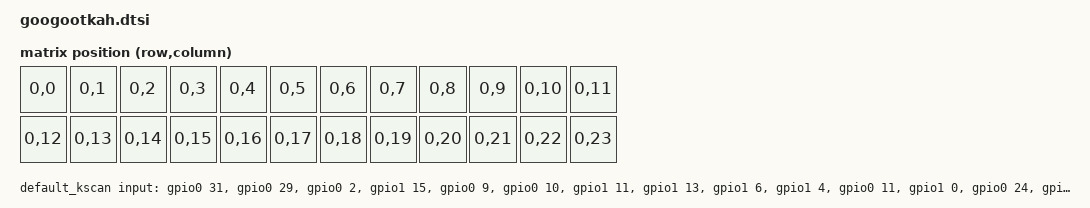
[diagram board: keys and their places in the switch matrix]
#include <dt-bindings/zmk/matrix_transform.h>

 / {
    chosen {
        zmk,display = &oled;
        zmk,kscan = &default_kscan;
        zmk,matrix_transform = &default_transform;
    };

    oled: ssd1306@3c {
        compatible = "solomon,ssd1306fb";
        reg = <0x3c>;
        label = "SSD1306";
        width = <128>;
        height = <32>;
        rotation = <0>;
        bus-speed = <100000>;
        segment-offset = <0>;       /* leva polovina, desna će overlay pomeriti */
        // reset-gpios = <&gpio0 29 GPIO_ACTIVE_LOW>; // ako koristiš reset pin
    };

    default_transform: keymap_transform_0 {
        compatible = "zmk,matrix-transform";
        columns = <24>;
        rows = <1>;
        map = <
            RC(0,0)  RC(0,1)  RC(0,2)  RC(0,3)  RC(0,4)  RC(0,5)  RC(0,6)  RC(0,7)  RC(0,8)  RC(0,9)  RC(0,10) RC(0,11)
            RC(0,12) RC(0,13) RC(0,14) RC(0,15) RC(0,16) RC(0,17) RC(0,18) RC(0,19) RC(0,20) RC(0,21) RC(0,22) RC(0,23)
        >;
    };

    default_kscan: kscan {
        compatible = "zmk,kscan-gpio-direct";
        label = "KSCAN";
        input-gpios = 
            <&gpio0 31 (GPIO_ACTIVE_LOW | GPIO_PULL_UP)>,
            <&gpio0 29 (GPIO_ACTIVE_LOW | GPIO_PULL_UP)>,
            <&gpio0 2  (GPIO_ACTIVE_LOW | GPIO_PULL_UP)>,
            <&gpio1 15 (GPIO_ACTIVE_LOW | GPIO_PULL_UP)>,
            <&gpio0 9  (GPIO_ACTIVE_LOW | GPIO_PULL_UP)>,
            <&gpio0 10 (GPIO_ACTIVE_LOW | GPIO_PULL_UP)>,
            <&gpio1 11 (GPIO_ACTIVE_LOW | GPIO_PULL_UP)>,
            <&gpio1 13 (GPIO_ACTIVE_LOW | GPIO_PULL_UP)>,
            <&gpio1 6  (GPIO_ACTIVE_LOW | GPIO_PULL_UP)>,
            <&gpio1 4  (GPIO_ACTIVE_LOW | GPIO_PULL_UP)>,
            <&gpio0 11 (GPIO_ACTIVE_LOW | GPIO_PULL_UP)>,
            <&gpio1 0  (GPIO_ACTIVE_LOW | GPIO_PULL_UP)>,
            <&gpio0 24 (GPIO_ACTIVE_LOW | GPIO_PULL_UP)>,
            <&gpio0 22 (GPIO_ACTIVE_LOW | GPIO_PULL_UP)>
        ;
    };
};

&i2c0 {
    compatible = "nordic,nrf-twi";
    status = "okay";
    sda-pin = <33>;   /* P1.01 */
    scl-pin = <39>;   /* P1.07 */
    clock-frequency = <I2C_BITRATE_STANDARD>;
};
